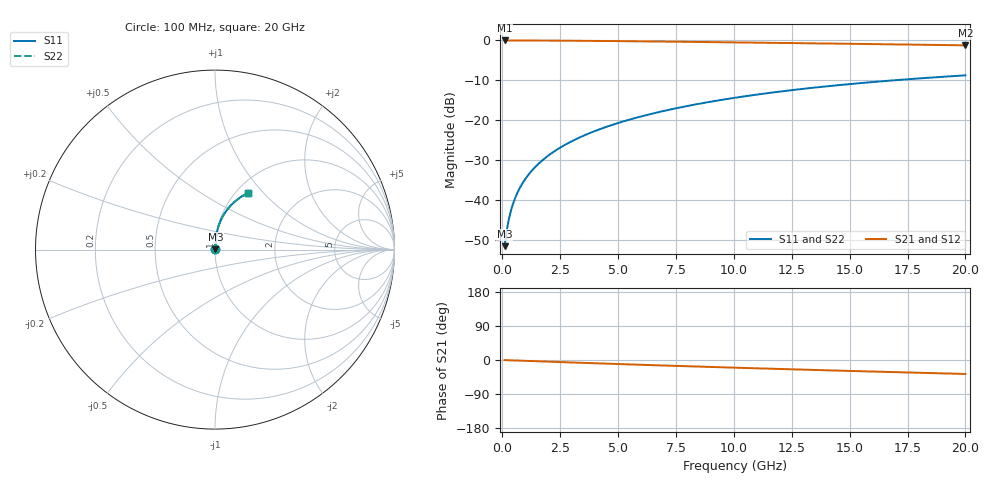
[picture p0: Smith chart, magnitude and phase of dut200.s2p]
! Touchstone file exported from HFSS 2024.1.0
!  File:  C:/UserFiles/LocalFiles/RDL_TSV_Batchsim/temp_RDL_bottom_200_1778699500.aedt
!  Generated:  03:14:22 AM May 14, 2026
!  Design:  RDL_bottom
!  Project:  temp_RDL_bottom_200_1778699500
!  Setup:  Setup1
!  Solution:  Sweep
! Variables:
!  dtsv = 10.80580581um
!  hbump = 3um
!  htsv = 96.22um
!  ldown = 487.57um
!  lrdl = 100um
!  p = 40
!  p1 = 58.5um
!  rhole = 1um
!  t = 450um
!  tdown = 4.93um
!  trdl = 3.915915916um
!  wdown = 21.66um
!  wrdl = 20um
# GHz S MA R 50.000000
! Terminal data exported
! Port[1] = RDL1_T1
! Port[2] = RDL1_T2
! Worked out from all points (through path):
!   200 points, 100 MHz to 20 GHz, reference 50 ohm
!   highest |S21| = -0.02 dB at 100 MHz (marker M1); lowest = -1.2 dB at 20 GHz (marker M2)
!   group delay of S21, straight-line fit = 5.08 ps
!   lowest |S11| = -51.7 dB at 100 MHz (marker M3), VSWR 1.01, Z = 50.2 + j0.192 ohm
!   |S11| at or under -10 dB: start of sweep to 16.96 GHz
!   |S22| runs from -51.7 to -8.8 dB; largest |S21 - S12| = 3.5e-15
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0.1  0.002608 47.2  0.9982 -0.2  0.9982 -0.2  0.002608 47.2
! Gamma 0 0 0 0
! Port Impedance 50 0 50 0
0.2  0.00423 64.2  0.9981 -0.5  0.9981 -0.5  0.00423 64.2
0.3  0.005988 71.1  0.998 -0.7  0.998 -0.7  0.005988 71.0
0.4  0.007763 74.7  0.9978 -0.9  0.9978 -0.9  0.007762 74.7
0.5  0.009529 76.9  0.9977 -1.1  0.9977 -1.1  0.009529 76.9
0.7  0.01304 79.6  0.9974 -1.6  0.9974 -1.6  0.01304 79.6
0.8  0.01479 80.5  0.9972 -1.8  0.9972 -1.8  0.01479 80.5
1  0.01829 81.8  0.9969 -2.2  0.9969 -2.2  0.01829 81.8
1.2  0.0218 82.8  0.9965 -2.7  0.9965 -2.7  0.0218 82.8
1.4  0.02533 83.5  0.9961 -3.1  0.9961 -3.1  0.02533 83.5
1.7  0.03066 84.1  0.9953 -3.8  0.9953 -3.8  0.03066 84.1
2  0.03602 84.6  0.9943 -4.4  0.9943 -4.4  0.03602 84.6
2.7  0.04868 85.0  0.9917 -5.9  0.9917 -5.9  0.04868 85.0
3.5  0.0634 84.9  0.988 -7.6  0.988 -7.6  0.0634 84.9
4.2  0.07651 84.6  0.9843 -9.1  0.9843 -9.1  0.07651 84.6
5  0.09172 83.9  0.9796 -10.7  0.9796 -10.7  0.09172 83.9
6.8  0.1267 81.8  0.9678 -14.2  0.9678 -14.2  0.1267 81.8
8.4  0.1581 79.5  0.9565 -17.3  0.9565 -17.3  0.1581 79.5
10.1  0.1914 76.7  0.944 -20.4  0.944 -20.4  0.1914 76.7
13.4  0.254 71.0  0.9189 -26.2  0.9189 -26.2  0.254 71.0
16.7  0.3118 65.3  0.893 -31.7  0.893 -31.7  0.3118 65.3
20  0.364 59.8  0.8668 -36.9  0.8668 -36.9  0.364 59.8
